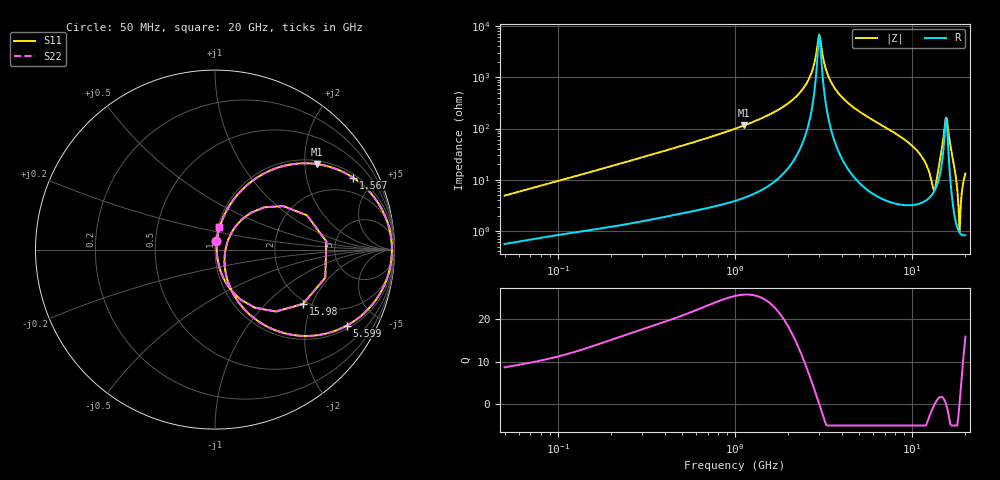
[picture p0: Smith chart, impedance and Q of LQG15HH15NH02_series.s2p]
!Murata Part Number: LQG15HH15NH02
!These Parameters are Measured in Series Mode Connection
!  o--[Z]--o
!Port1  Port2
!  o-------o
!Freq. Start=50[MHz] Stop=20[GHz], 401[Steps]
# Hz S RI R 50
!Freq.(Hz) S11(Real) S11(Imag) S21(Real) S21(Imag) S12(Real) S12(Imag) S22(Real) S22(Imag)
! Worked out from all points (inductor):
!   401 points, 50 MHz to 20 GHz, reference 50 ohm
!   read as one part in series: L = 15.3 nH near 51.52 MHz
!   highest Q = 25.8 at 1.127 GHz (marker M1), where L = 16.2 nH
!   self-resonance near 2.985 GHz
!   S11 on the Smith chart (normalised r, x): 50 MHz: 1.01, +0.10; 1.567 GHz: 1.16, +3.74; 5.599 GHz: 1.13, -3.38; 15.98 GHz: 1.90, -1.72; 20 GHz: 1.02, +0.26
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5e7  0.00792 0.0481  0.9921 -0.0481  0.9921 -0.0481  0.00792 0.0481
1.364002e8  0.0252 0.1226  0.9748 -0.1226  0.9748 -0.1226  0.0252 0.1226
3.721004e8  0.1163 0.2953  0.8837 -0.2953  0.8837 -0.2953  0.1163 0.2953
1e9  0.4942 0.4807  0.5058 -0.4807  0.5058 -0.4807  0.4942 0.4807
1.127304e9  0.5668 0.4765  0.4332 -0.4765  0.4332 -0.4765  0.5668 0.4765
1.567309e9  0.769 0.4011  0.231 -0.4011  0.231 -0.4011  0.769 0.4011
2.245319e9  0.9372 0.2097  0.0628 -0.2097  0.0628 -0.2097  0.9372 0.2097
2.728004e9  0.9803 0.0709  0.0197 -0.0709  0.0197 -0.0709  0.9803 0.0709
2.940159e9  0.9855 0.0139  0.0145 -0.0139  0.0145 -0.0139  0.9855 0.0139
3.029571e9  0.9857 -0.00918  0.0143 0.00918  0.0143 0.00918  0.9857 -0.00918
3.265178e9  0.9811 -0.0672  0.0189 0.0672  0.0189 0.0672  0.9811 -0.0672
3.626126e9  0.9627 -0.1481  0.0373 0.1481  0.0373 0.1481  0.9627 -0.1481
5.598765e9  0.7333 -0.424  0.2667 0.424  0.2667 0.424  0.7333 -0.424
7.442007e9  0.4737 -0.4801  0.5263 0.4801  0.5263 0.4801  0.4737 -0.4801
1.082228e10  0.131 -0.2925  0.869 0.2925  0.869 0.2925  0.131 -0.2925
1.334722e10  0.057 -0.00782  0.943 0.00782  0.943 0.00782  0.057 -0.00782
1.482269e10  0.2735 0.2355  0.7265 -0.2355  0.7265 -0.2355  0.2735 0.2355
1.550395e10  0.6202 0.046  0.3798 -0.046  0.3798 -0.046  0.6202 0.046
1.597544e10  0.4901 -0.3025  0.5099 0.3025  0.5099 0.3025  0.4901 -0.3025
1.696185e10  0.0909 -0.228  0.9091 0.228  0.9091 0.228  0.0909 -0.228
1.855685e10  0.00923 0.00315  0.9908 -0.00315  0.9908 -0.00315  0.00923 0.00315
2e10  0.025 0.1278  0.975 -0.1278  0.975 -0.1278  0.025 0.1278
